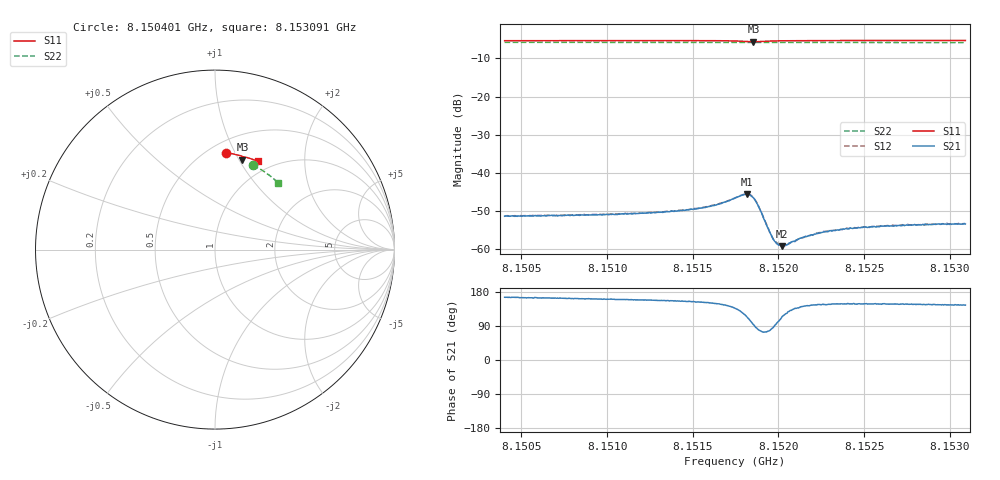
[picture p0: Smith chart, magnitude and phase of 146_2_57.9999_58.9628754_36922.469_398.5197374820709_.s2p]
#  HZ  S  RI  R  50.00
! Rohde & Schwarz Vector Network Analyzer
! Rohde-Schwarz,ZNB20-2Port,1311601062101988,3.16
! Created: UTC 3/21/2024, 12:56:50 AM
! freq[Hz]  re:S11  im:S11  re:S21  im:S21  re:S12  im:S12  re:S22  im:S22
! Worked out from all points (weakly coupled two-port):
!   401 points, 8.150401 GHz to 8.153091 GHz, reference 50 ohm
!   highest |S21| = -45.62 dB at 8.151814 GHz (marker M1); lowest = -59.3 dB at 8.152022 GHz (marker M2)
!   lowest |S11| = -5.6 dB at 8.151854 GHz (marker M3), VSWR 3.20, Z = 37.4 + j51.7 ohm
!   |S11| at or under -10 dB: nowhere
!   |S22| runs from -5.8 to -5.8 dB; largest |S21 - S12| = 0.00013
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8.1504014e9  0.06 0.5381  -0.0026 0.000667  -0.00261 0.000719  0.2119 0.4695
8.150852e9  0.0918 0.5343  -0.00266 0.000872  -0.00267 0.000918  0.2379 0.4564
8.1513025e9  0.1238 0.5283  -0.00279 0.00117  -0.00279 0.00119  0.263 0.4417
8.1514639e9  0.1356 0.5252  -0.00293 0.00141  -0.00294 0.00143  0.2718 0.436
8.1515715e9  0.144 0.5226  -0.00309 0.00164  -0.00311 0.00171  0.2776 0.4322
8.1516791e9  0.1531 0.5182  -0.00336 0.0023  -0.00335 0.00233  0.2833 0.4281
8.1517464e9  0.1585 0.5128  -0.00337 0.0032  -0.00334 0.00328  0.2868 0.4255
8.1518136e9  0.159 0.5032  -0.0022 0.00475  -0.00213 0.0048  0.29 0.4228
8.1518338e9  0.1562 0.5009  -0.00129 0.00493  -0.00121 0.00501  0.2909 0.422
8.1518539e9  0.1525 0.5009  -0.000287 0.00468  -0.000214 0.00473  0.2919 0.4213
8.1518674e9  0.1504 0.5022  0.000297 0.00423  0.000326 0.00425  0.2925 0.421
8.1518876e9  0.1489 0.5054  0.000682 0.00339  0.000728 0.00339  0.2934 0.4205
8.1519615e9  0.1544 0.5139  0.000177 0.00145  0.000202 0.00145  0.2974 0.4181
8.1519884e9  0.1573 0.5149  -0.000124 0.00117  -0.000134 0.0012  0.2988 0.4171
8.1520221e9  0.161 0.5155  -0.000456 0.000986  -0.000414 0.00104  0.3007 0.4159
8.152049e9  0.1637 0.5156  -0.000616 0.000941  -0.000652 0.000993  0.302 0.4148
8.1521297e9  0.171 0.5147  -0.00107 0.000883  -0.00104 0.000904  0.3062 0.4115
8.1521969e9  0.1764 0.5136  -0.00126 0.00088  -0.00122 0.000897  0.3096 0.4088
8.1522507e9  0.1804 0.5125  -0.00136 0.000921  -0.00137 0.000932  0.3123 0.4067
8.1523919e9  0.1907 0.5094  -0.00156 0.000981  -0.00159 0.001  0.3193 0.4009
8.1526475e9  0.2081 0.5032  -0.00168 0.00107  -0.00168 0.00108  0.3318 0.3902
8.1530913e9  0.2371 0.491  -0.00174 0.00122  -0.00174 0.00127  0.3524 0.3711
